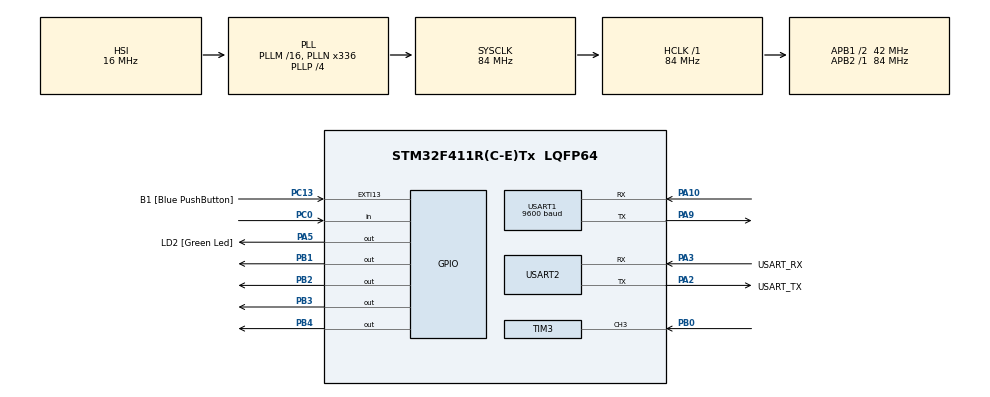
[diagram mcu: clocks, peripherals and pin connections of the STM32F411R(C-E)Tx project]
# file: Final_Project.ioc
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Mcu.Family=STM32F4
Mcu.Name=STM32F411R(C-E)Tx
Mcu.Package=LQFP64
NVIC.PriorityGroup=NVIC_PRIORITYGROUP_0
NVIC.TIM3_IRQn=true\:0\:0\:false\:false\:true\:true\:true\:true
PA10.Mode=Asynchronous
PA10.Signal=USART1_RX
PA13.GPIO_Label=TMS
PA13.Mode=Serial_Wire
PA13.Signal=SYS_JTMS-SWDIO
PA14.GPIO_Label=TCK
PA14.Mode=Serial_Wire
PA14.Signal=SYS_JTCK-SWCLK
PA2.GPIO_Label=USART_TX
PA2.Mode=Asynchronous
PA2.Signal=USART2_TX
PA3.GPIO_Label=USART_RX
PA3.Mode=Asynchronous
PA3.Signal=USART2_RX
PA5.GPIO_Label=LD2 [Green Led]
PA5.Signal=GPIO_Output
PA9.Mode=Asynchronous
PA9.Signal=USART1_TX
PB0.Signal=S_TIM3_CH3
PB1.GPIO_Speed=GPIO_SPEED_FREQ_HIGH
PB1.Signal=GPIO_Output
PB2.GPIO_Speed=GPIO_SPEED_FREQ_HIGH
PB2.Signal=GPIO_Output
PB3.GPIO_Speed=GPIO_SPEED_FREQ_HIGH
PB3.Signal=GPIO_Output
PB4.GPIO_Speed=GPIO_SPEED_FREQ_HIGH
PB4.Signal=GPIO_Output
PC0.Signal=GPIO_Input
PC13-ANTI_TAMP.GPIO_Label=B1 [Blue PushButton]
PC13-ANTI_TAMP.GPIO_ModeDefaultEXTI=GPIO_MODE_IT_FALLING
PC13-ANTI_TAMP.Signal=GPXTI13
PC14-OSC32_IN.Mode=LSE-External-Oscillator
PC14-OSC32_IN.Signal=RCC_OSC32_IN
PC15-OSC32_OUT.Mode=LSE-External-Oscillator
PC15-OSC32_OUT.Signal=RCC_OSC32_OUT
PH0\ -\ OSC_IN.Mode=HSE-External-Clock-Source
PH0\ -\ OSC_IN.Signal=RCC_OSC_IN
PH1\ -\ OSC_OUT.Mode=HSE-External-Clock-Source
PH1\ -\ OSC_OUT.Signal=RCC_OSC_OUT
ProjectManager.HeapSize=0x200
ProjectManager.StackSize=0x400
ProjectManager.TargetToolchain=STM32CubeIDE
RCC.48MHZClocksFreq_Value=84000000
RCC.AHBFreq_Value=84000000
RCC.APB1CLKDivider=RCC_HCLK_DIV2
RCC.APB1Freq_Value=42000000
RCC.APB1TimFreq_Value=84000000
RCC.APB2Freq_Value=84000000
RCC.APB2TimFreq_Value=84000000
RCC.CortexFreq_Value=84000000
RCC.FLatency-AdvancedSettings=FLASH_LATENCY_2
RCC.HCLKFreq_Value=84000000
RCC.HSE_VALUE=8000000
RCC.HSI_VALUE=16000000
RCC.PLLN=336
RCC.PLLP=RCC_PLLP_DIV4
RCC.SYSCLKFreq_VALUE=84000000
RCC.SYSCLKSource=RCC_SYSCLKSOURCE_PLLCLK
RCC.VCOOutputFreq_Value=336000000
SH.S_TIM3_CH3.0=TIM3_CH3,Input_Capture3_from_TI3
TIM3.Channel-Input_Capture3_from_TI3=TIM_CHANNEL_3
TIM3.ICFilter_CH3=5
TIM3.Period=20000-1
TIM3.Prescaler=84-1
USART1.BaudRate=9600
USART1.VirtualMode=VM_ASYNC
USART2.VirtualMode=VM_ASYNC
VP_TIM3_VS_ClockSourceINT.Mode=Internal
board=NUCLEO-F411RE

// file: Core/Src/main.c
/* USER CODE BEGIN Header */
/**
 ******************************************************************************
 * @file           : main.c
 * @brief          : Main program body
 ******************************************************************************
 * @attention
 *
 * Copyright (c) 2022 STMicroelectronics.
 * All rights reserved.
 *
 * This software is licensed under terms that can be found in the LICENSE file
 * in the root directory of this software component.
 * If no LICENSE file comes with this software, it is provided AS-IS.
 *
 ******************************************************************************
 */
/* USER CODE END Header */
#include "main.h"

 TIM_HandleTypeDef htim3;

UART_HandleTypeDef huart1;
UART_HandleTypeDef huart2;

void SystemClock_Config(void);
static void MX_GPIO_Init(void);
static void MX_USART2_UART_Init(void);
static void MX_TIM3_Init(void);
static void MX_USART1_UART_Init(void);

/* USER CODE BEGIN 0 */

#define TIMCLOCK 84000000
#define PRESCALER 84

//value for sensor calibration
#define RED_a 97.859
#define RED_b -770.34
#define GREEN_a 89.49
#define GREEN_b -666.01
#define BLUE_a 102.26
#define BLUE_b -823.62

enum Scaling { //output frequency scaling of color sensor
	Scl0, Scl2, Scl20, Scl100
};

enum Filter { //filter of color sensor
	Red, Blue, Clear, Green
};

uint8_t set_color; //Red, BLue, Green
int wait_for_callback = 0; //0 when receive callback, 1 when waiting for callback
double frequency = 0; //update when get interrupt callback
double Output_Color = 0; //update when get interrupt callback

double RGB[3]; //Array [Red, Green, Blue]

/* Measure Frequency */
uint32_t IC_Val1 = 0;
uint32_t IC_Val2 = 0;
uint32_t Difference = 0;
int Is_First_Captured = 0;

void HAL_TIM_IC_CaptureCallback(TIM_HandleTypeDef *htim) {
	if (htim->Channel == HAL_TIM_ACTIVE_CHANNEL_3) {
		if (Is_First_Captured == 0) //if the first rising edge is not captured
				{
			IC_Val1 = HAL_TIM_ReadCapturedValue(htim, TIM_CHANNEL_3); //read the first value
			Is_First_Captured = 1;  //set the first captured as true
		}

		else //if the first rising edge is captured, now we will capture the second edge
		{
			IC_Val2 = HAL_TIM_ReadCapturedValue(htim, TIM_CHANNEL_3); //read second value

			if (IC_Val2 > IC_Val1) { //avoid overflow
				Difference = IC_Val2 - IC_Val1;
			}

			else if (IC_Val1 > IC_Val2) {
				Difference = (0xffffffff - IC_Val1) + IC_Val2;
			}

			float refClock = TIMCLOCK / (PRESCALER);

			frequency = refClock / Difference;

			__HAL_TIM_SET_COUNTER(htim, 0);  //reset the counter
			Is_First_Captured = 0; //set it back to false

			//frequency to Color (depending of the filter)
			switch (set_color) {
			case Red:
				Output_Color = RED_a*log(frequency) + RED_b;
				break;

			case Green:
				Output_Color = GREEN_a*log(frequency) + GREEN_b;
				break;

			case Blue:
				Output_Color = BLUE_a*log(frequency) + BLUE_b;
				break;
			}

			//constrain value to max range
			if (Output_Color > 255)
				Output_Color = 255;
			if (Output_Color < 0)
				Output_Color = 0;

			wait_for_callback = 0;
		}
	}
}

void Set_Scaling(int mode) {
	switch (mode) {
	case (Scl0): //OUTPUT FREQUENCY SCALING = 0%
		HAL_GPIO_WritePin(GPIOB, GPIO_PIN_1, 0); //S0 L
		HAL_GPIO_WritePin(GPIOB, GPIO_PIN_2, 0); //S1 L
		break;
	case (Scl2): //2%
		HAL_GPIO_WritePin(GPIOB, GPIO_PIN_1, 0); //S0 L
		HAL_GPIO_WritePin(GPIOB, GPIO_PIN_2, 1); //S1 H
		break;
	case (Scl20): //20%
		HAL_GPIO_WritePin(GPIOB, GPIO_PIN_1, 1); //S0 H
		HAL_GPIO_WritePin(GPIOB, GPIO_PIN_2, 0); //S1 L
		break;
	case (Scl100): //100%
		HAL_GPIO_WritePin(GPIOB, GPIO_PIN_1, 1); //S0 H
		HAL_GPIO_WritePin(GPIOB, GPIO_PIN_2, 1); //S1 H
		break;
	}
}

void Set_Filter(uint8_t mode) //Mode is type enum Filter
{
	set_color = mode;
	switch (mode) {
	case (Red):
		HAL_GPIO_WritePin(GPIOB, GPIO_PIN_3, 0); //S2 L
		HAL_GPIO_WritePin(GPIOB, GPIO_PIN_4, 0); //S3 L
		break;
	case (Blue):
		HAL_GPIO_WritePin(GPIOB, GPIO_PIN_3, 0); //S2 L
		HAL_GPIO_WritePin(GPIOB, GPIO_PIN_4, 1); //S3 H
		break;
	case (Clear):
		HAL_GPIO_WritePin(GPIOB, GPIO_PIN_3, 1); //S2 H
		HAL_GPIO_WritePin(GPIOB, GPIO_PIN_4, 0); //S3 L
		break;
	case (Green):
		HAL_GPIO_WritePin(GPIOB, GPIO_PIN_3, 1); //S2 H
		HAL_GPIO_WritePin(GPIOB, GPIO_PIN_4, 1); //S3 H
		break;
	}
}

void Print_Output() { //send RGB value by UART1 to NodeMCU
	char buffer[100];
	sprintf(buffer, "%d %d %d\n", (int) round(RGB[0]), (int) round(RGB[1]), //convert double to int
			(int) round(RGB[2]));
	HAL_UART_Transmit(&huart1, &buffer, strlen(buffer), HAL_MAX_DELAY);
	HAL_UART_Transmit(&huart2, &buffer, strlen(buffer), HAL_MAX_DELAY);
}

void Print_Frequency(uint8_t set_color, float sum_frequency) { //send RGB and frequency by UART (used for sensor calibration)
	char buffer[100];
	switch (set_color) {
	case Red:
		sprintf(buffer, "Red = %d frequency = %d \r\n", (int) round(RGB[0]),
				(int) round(sum_frequency));
		break;
	case Green:
		sprintf(buffer, "Green = %d frequency = %d \r\n", (int) round(RGB[1]),
				(int) round(sum_frequency));
		break;
	case Blue:
		sprintf(buffer, "Blue = %d frequency = %d \r\n", (int) round(RGB[2]),
				(int) round(sum_frequency));
		break;
	}
	HAL_UART_Transmit(&huart2, &buffer, strlen(buffer), HAL_MAX_DELAY); //show output in Tera Term
}

float GetColor(uint8_t set_color) { //set filter and return color value get from interrupt callback function
	Set_Filter(set_color);
	wait_for_callback = 1;
	HAL_TIM_IC_Start_IT(&htim3, TIM_CHANNEL_3); //start interrupt
	while (wait_for_callback == 1) { //wait until value is get on the interrupt routine
	}
	HAL_TIM_IC_Stop_IT(&htim3, TIM_CHANNEL_3); //stop interrupt
	return Output_Color;
}

void ReadColor(int read_times) { //read color value for 'read_times' times and calculate average value
	RGB[0] = 0;
	for (int i = 0; i < read_times; i++) {
		RGB[0] += GetColor(Red);
	}
	RGB[0] /= read_times;

	RGB[1] = 0;
	for (int i = 0; i < read_times; i++) {
		RGB[1] += GetColor(Green);
	}
	RGB[1] /= read_times;

	RGB[2] = 0;
	for (int i = 0; i < read_times; i++) {
		RGB[2] += GetColor(Blue);
	}
	RGB[2] /= read_times;
}

void ReadColorWithFrequency(int read_times, int delay) { //for sensor calibration
	float sum_frequency; //for calculate average frequency (only used for sensor calibration)
	while (1) {
		char buffer[100];
		sprintf(buffer,
				"-------------------Sensor Calibration-----------------\r\n");
		HAL_UART_Transmit(&huart2, &buffer, strlen(buffer), HAL_MAX_DELAY);

		RGB[0] = 0;
		sum_frequency = 0;
		for (int i = 0; i < read_times; i++) {
			RGB[0] += GetColor(Red);
			sum_frequency += frequency;
		}
		RGB[0] /= read_times;
		sum_frequency /= read_times;
		Print_Frequency(Red, sum_frequency);

		RGB[1] = 0;
		sum_frequency = 0;
		for (int i = 0; i < read_times; i++) {
			RGB[1] += GetColor(Green);
			sum_frequency += frequency;
		}
		RGB[1] /= read_times;
		sum_frequency /= read_times;
		Print_Frequency(Green, sum_frequency);

		RGB[2] = 0;
		sum_frequency = 0;
		for (int i = 0; i < read_times; i++) {
			RGB[2] += GetColor(Blue);
			sum_frequency += frequency;
		}
		RGB[2] /= read_times;
		sum_frequency /= read_times;
		Print_Frequency(Blue, sum_frequency);

		HAL_Delay(delay);
	}
}

/* USER CODE END 0 */

int main(void)
{

  /* MCU Configuration--------------------------------------------------------*/

  /* Reset of all peripherals, Initializes the Flash interface and the Systick. */
  HAL_Init();

  /* Configure the system clock */
  SystemClock_Config();

  /* Initialize all configured peripherals */
  MX_GPIO_Init();
  MX_USART2_UART_Init();
  MX_TIM3_Init();
  MX_USART1_UART_Init();
  /* USER CODE BEGIN 2 */

	HAL_TIM_IC_Start_IT(&htim3, TIM_CHANNEL_3);

	Set_Scaling(Scl20); //set color sensor's output frequency scaling to 20%

	int undetected_time = 0;
	const int detected_delay = 20;
	int is_detected = 0;
	uint32_t lastClap = HAL_GetTick();
	int clapCount = 0;
	const int timeBetweenClap = 1000;

//	ReadColorWithFrequency(1000, 3000); //uncomment this line for sensor calibration

  /* USER CODE END 2 */

  /* Infinite loop */
	while (1) {

    /* USER CODE BEGIN 3 */

		if (HAL_GPIO_ReadPin(GPIOC, GPIO_PIN_0) == HAL_OK) { //detect sound
			if (!is_detected && undetected_time > detected_delay) { //undetected sound and undetected more than detected_delay
				if (HAL_GetTick() <= lastClap + timeBetweenClap)
					clapCount += 1;
				else
					clapCount = 1; //time between claps too long, reset clapCount to 1
				if (clapCount >= 3) {

					HAL_GPIO_TogglePin(GPIOA, GPIO_PIN_5); //toggle LED
					ReadColor(100); //read color
					Print_Output(); //send color's value through UART1 to NodeMCU

					clapCount = 0; //reset clapCount
				}
				lastClap = HAL_GetTick();
			}
			is_detected = 1;
			undetected_time = 0;
		} else { // undetected sound
			undetected_time++;
			is_detected = 0;
		}
		HAL_Delay(1); //delay 1 ms
	}
  /* USER CODE END 3 */
}

void SystemClock_Config(void)
{
  RCC_OscInitTypeDef RCC_OscInitStruct = {0};
  RCC_ClkInitTypeDef RCC_ClkInitStruct = {0};

  /** Configure the main internal regulator output voltage
  */
  __HAL_RCC_PWR_CLK_ENABLE();
  __HAL_PWR_VOLTAGESCALING_CONFIG(PWR_REGULATOR_VOLTAGE_SCALE1);

  /** Initializes the RCC Oscillators according to the specified parameters
  * in the RCC_OscInitTypeDef structure.
  */
  RCC_OscInitStruct.OscillatorType = RCC_OSCILLATORTYPE_HSI;
  RCC_OscInitStruct.HSIState = RCC_HSI_ON;
  RCC_OscInitStruct.HSICalibrationValue = RCC_HSICALIBRATION_DEFAULT;
  RCC_OscInitStruct.PLL.PLLState = RCC_PLL_ON;
  RCC_OscInitStruct.PLL.PLLSource = RCC_PLLSOURCE_HSI;
  RCC_OscInitStruct.PLL.PLLM = 16;
  RCC_OscInitStruct.PLL.PLLN = 336;
  RCC_OscInitStruct.PLL.PLLP = RCC_PLLP_DIV4;
  RCC_OscInitStruct.PLL.PLLQ = 4;
  if (HAL_RCC_OscConfig(&RCC_OscInitStruct) != HAL_OK)
  {
    Error_Handler();
  }

  /** Initializes the CPU, AHB and APB buses clocks
  */
  RCC_ClkInitStruct.ClockType = RCC_CLOCKTYPE_HCLK|RCC_CLOCKTYPE_SYSCLK
                              |RCC_CLOCKTYPE_PCLK1|RCC_CLOCKTYPE_PCLK2;
  RCC_ClkInitStruct.SYSCLKSource = RCC_SYSCLKSOURCE_PLLCLK;
  RCC_ClkInitStruct.AHBCLKDivider = RCC_SYSCLK_DIV1;
  RCC_ClkInitStruct.APB1CLKDivider = RCC_HCLK_DIV2;
  RCC_ClkInitStruct.APB2CLKDivider = RCC_HCLK_DIV1;

  if (HAL_RCC_ClockConfig(&RCC_ClkInitStruct, FLASH_LATENCY_2) != HAL_OK)
  {
    Error_Handler();
  }
}

static void MX_TIM3_Init(void)
{

  TIM_ClockConfigTypeDef sClockSourceConfig = {0};
  TIM_MasterConfigTypeDef sMasterConfig = {0};
  TIM_IC_InitTypeDef sConfigIC = {0};

  htim3.Instance = TIM3;
  htim3.Init.Prescaler = 84-1;
  htim3.Init.CounterMode = TIM_COUNTERMODE_UP;
  htim3.Init.Period = 20000-1;
  htim3.Init.ClockDivision = TIM_CLOCKDIVISION_DIV1;
  htim3.Init.AutoReloadPreload = TIM_AUTORELOAD_PRELOAD_DISABLE;
  if (HAL_TIM_Base_Init(&htim3) != HAL_OK)
  {
    Error_Handler();
  }
  sClockSourceConfig.ClockSource = TIM_CLOCKSOURCE_INTERNAL;
  if (HAL_TIM_ConfigClockSource(&htim3, &sClockSourceConfig) != HAL_OK)
  {
    Error_Handler();
  }
  if (HAL_TIM_IC_Init(&htim3) != HAL_OK)
  {
    Error_Handler();
  }
  sMasterConfig.MasterOutputTrigger = TIM_TRGO_RESET;
  sMasterConfig.MasterSlaveMode = TIM_MASTERSLAVEMODE_DISABLE;
  if (HAL_TIMEx_MasterConfigSynchronization(&htim3, &sMasterConfig) != HAL_OK)
  {
    Error_Handler();
  }
  sConfigIC.ICPolarity = TIM_INPUTCHANNELPOLARITY_RISING;
  sConfigIC.ICSelection = TIM_ICSELECTION_DIRECTTI;
  sConfigIC.ICPrescaler = TIM_ICPSC_DIV1;
  sConfigIC.ICFilter = 5;
  if (HAL_TIM_IC_ConfigChannel(&htim3, &sConfigIC, TIM_CHANNEL_3) != HAL_OK)
  {
    Error_Handler();
  }

}

static void MX_USART1_UART_Init(void)
{

  huart1.Instance = USART1;
  huart1.Init.BaudRate = 9600;
  huart1.Init.WordLength = UART_WORDLENGTH_8B;
  huart1.Init.StopBits = UART_STOPBITS_1;
  huart1.Init.Parity = UART_PARITY_NONE;
  huart1.Init.Mode = UART_MODE_TX_RX;
  huart1.Init.HwFlowCtl = UART_HWCONTROL_NONE;
  huart1.Init.OverSampling = UART_OVERSAMPLING_16;
  if (HAL_UART_Init(&huart1) != HAL_OK)
  {
    Error_Handler();
  }

}

static void MX_USART2_UART_Init(void)
{

  huart2.Instance = USART2;
  huart2.Init.BaudRate = 115200;
  huart2.Init.WordLength = UART_WORDLENGTH_8B;
  huart2.Init.StopBits = UART_STOPBITS_1;
  huart2.Init.Parity = UART_PARITY_NONE;
  huart2.Init.Mode = UART_MODE_TX_RX;
  huart2.Init.HwFlowCtl = UART_HWCONTROL_NONE;
  huart2.Init.OverSampling = UART_OVERSAMPLING_16;
  if (HAL_UART_Init(&huart2) != HAL_OK)
  {
    Error_Handler();
  }

}

static void MX_GPIO_Init(void)
{
  GPIO_InitTypeDef GPIO_InitStruct = {0};

  /* GPIO Ports Clock Enable */
  __HAL_RCC_GPIOC_CLK_ENABLE();
  __HAL_RCC_GPIOH_CLK_ENABLE();
  __HAL_RCC_GPIOA_CLK_ENABLE();
  __HAL_RCC_GPIOB_CLK_ENABLE();

  /*Configure GPIO pin Output Level */
  HAL_GPIO_WritePin(LD2_GPIO_Port, LD2_Pin, GPIO_PIN_RESET);

  /*Configure GPIO pin Output Level */
  HAL_GPIO_WritePin(GPIOB, GPIO_PIN_1|GPIO_PIN_2|GPIO_PIN_3|GPIO_PIN_4, GPIO_PIN_RESET);

  /*Configure GPIO pin : B1_Pin */
  GPIO_InitStruct.Pin = B1_Pin;
  GPIO_InitStruct.Mode = GPIO_MODE_IT_FALLING;
  GPIO_InitStruct.Pull = GPIO_NOPULL;
  HAL_GPIO_Init(B1_GPIO_Port, &GPIO_InitStruct);

  /*Configure GPIO pin : PC0 */
  GPIO_InitStruct.Pin = GPIO_PIN_0;
  GPIO_InitStruct.Mode = GPIO_MODE_INPUT;
  GPIO_InitStruct.Pull = GPIO_NOPULL;
  HAL_GPIO_Init(GPIOC, &GPIO_InitStruct);

  /*Configure GPIO pin : LD2_Pin */
  GPIO_InitStruct.Pin = LD2_Pin;
  GPIO_InitStruct.Mode = GPIO_MODE_OUTPUT_PP;
  GPIO_InitStruct.Pull = GPIO_NOPULL;
  GPIO_InitStruct.Speed = GPIO_SPEED_FREQ_LOW;
  HAL_GPIO_Init(LD2_GPIO_Port, &GPIO_InitStruct);

  /*Configure GPIO pins : PB1 PB2 PB3 PB4 */
  GPIO_InitStruct.Pin = GPIO_PIN_1|GPIO_PIN_2|GPIO_PIN_3|GPIO_PIN_4;
  GPIO_InitStruct.Mode = GPIO_MODE_OUTPUT_PP;
  GPIO_InitStruct.Pull = GPIO_NOPULL;
  GPIO_InitStruct.Speed = GPIO_SPEED_FREQ_HIGH;
  HAL_GPIO_Init(GPIOB, &GPIO_InitStruct);

}

void Error_Handler(void)
{
	__disable_irq();
	while (1) {
	}
}
